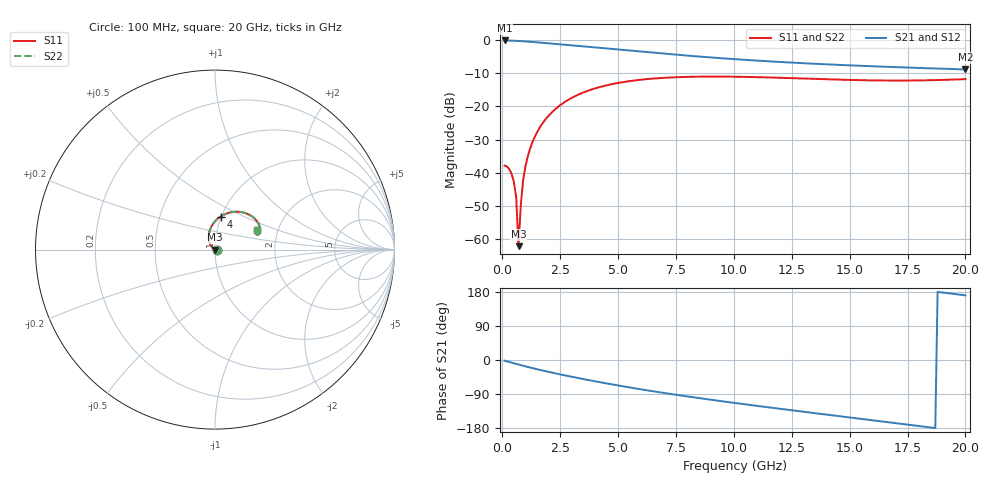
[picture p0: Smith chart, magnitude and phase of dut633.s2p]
! Touchstone file exported from HFSS 2024.1.0
!  File:  C:/UserFiles/LocalFiles/RDL_TSV_Batchsim/temp_RDL_TSV_633_1779804690.aedt
!  Generated:  10:22:16 PM May 26, 2026
!  Design:  RDL_TSV
!  Project:  temp_RDL_TSV_633_1779804690
!  Setup:  Setup1
!  Solution:  Sweep
! Variables:
!  dtsv = 14.64um
!  hbump = 3um
!  htsv = 59.46um
!  ldown = 642.47um
!  lrdl = 207.09um
!  p = 40
!  p1 = 49.33um
!  rhole = 10um
!  subl = 2755.77um
!  t = 450um
!  tdown = 4.22um
!  trdl = 4.78um
!  viad = 10um
!  wdown = 15.54um
!  wrdl = 28.2um
!  xbump = 18um
# GHz S MA R 50.000000
! Terminal data exported
! Port[1] = TM1_1_T1
! Port[2] = TM1_4_T1
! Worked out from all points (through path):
!   200 points, 100 MHz to 20 GHz, reference 50 ohm
!   highest |S21| = -0.12 dB at 100 MHz (marker M1); lowest = -8.9 dB at 20 GHz (marker M2)
!   group delay of S21, straight-line fit = 24.7 ps
!   lowest |S11| = -62.1 dB at 700 MHz (marker M3), VSWR 1.00, Z = 50.1 - j0.00349 ohm
!   |S11| at or under -10 dB: start of sweep to end of sweep
!   |S22| runs from -62.4 to -11.0 dB; largest |S21 - S12| = 1e-14
!   S11 on the Smith chart (normalised r, x): 100 MHz: 1.03, -0.00; 4 GHz: 0.99, +0.38; 20 GHz: 1.56, +0.36
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0.1  0.01286 -0.7  0.9865 -1.8  0.9865 -1.8  0.01286 -0.7
! Gamma 0 0 0 0
! Port Impedance 50 0 50 0
0.3  0.01143 -5.8  0.9826 -5.3  0.9826 -5.3  0.01142 -5.8
0.4  0.009684 -9.2  0.9798 -7.0  0.9798 -7.0  0.009675 -9.2
0.5  0.00728 -12.5  0.9766 -8.6  0.9766 -8.6  0.007266 -12.4
0.6  0.004283 -14.7  0.973 -10.3  0.973 -10.3  0.004263 -14.7
0.7  0.0007862 -2.5  0.9688 -12.0  0.9688 -12.0  0.0007614 -1.7
0.8  0.00328 150.1  0.9643 -13.6  0.9643 -13.6  0.003315 150.1
0.9  0.007712 149.2  0.9595 -15.2  0.9595 -15.2  0.007756 149.2
1  0.01253 146.6  0.9543 -16.8  0.9543 -16.8  0.01258 146.6
1.1  0.01768 143.7  0.9488 -18.3  0.9488 -18.3  0.01774 143.7
1.3  0.0288 137.8  0.9372 -21.4  0.9372 -21.4  0.02888 137.8
1.6  0.04695 129.2  0.9189 -25.8  0.9189 -25.8  0.04707 129.3
2.1  0.07897 116.4  0.8875 -32.7  0.8875 -32.7  0.07916 116.4
2.7  0.1169 103.1  0.8503 -40.5  0.8503 -40.5  0.1172 103.1
3.5  0.1624 88.3  0.8026 -50.3  0.8026 -50.3  0.1628 88.3
4  0.1868 80.3  0.7739 -56.2  0.7739 -56.2  0.1873 80.4
5.2  0.2323 64.5  0.7087 -69.3  0.7087 -69.3  0.2329 64.5
6.8  0.2674 48.5  0.6317 -85.3  0.6317 -85.3  0.2681 48.5
10.1  0.2805 28.1  0.5139 -113.9  0.5139 -113.9  0.2814 28.2
13.4  0.2607 19.7  0.4409 -139.5  0.4409 -139.5  0.2618 19.7
16.7  0.2456 20.3  0.3944 -164.4  0.3944 -164.4  0.2467 20.3
20  0.258 24.5  0.3608 170.6  0.3608 170.6  0.2591 24.4
